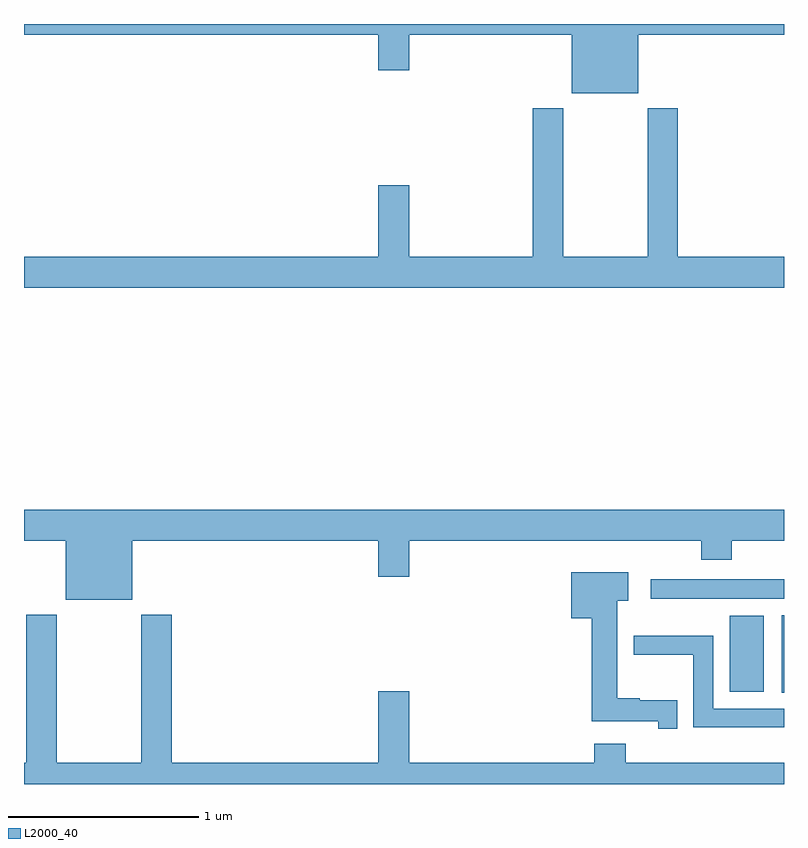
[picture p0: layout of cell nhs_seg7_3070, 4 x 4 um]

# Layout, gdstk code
import gdstk
lib = gdstk.Library(unit=1e-6, precision=1e-09)
def R(c, l, rs):  # rectangles x0, y0, x1, y1
    for r in rs: c.add(gdstk.rectangle(r[:2], r[2:], *l))
def P(c, l, *ps):  # polygons
    for p in ps: c.add(gdstk.Polygon(p, *l))
L2000_40 = (2000, 40)

nhs_seg7_3070 = lib.new_cell('nhs_seg7_3070')
R(nhs_seg7_3070, L2000_40, [(310.988,1002.481,311,1002.889), (310.715,1002.485,310.894,1002.886), (310.299,1002.974,311,1003.078)])
P(nhs_seg7_3070, L2000_40, [(307,1005.944),(308.864,1005.944),(308.864,1005.756),(309.028,1005.756),(309.028,1005.944),(309.884,1005.944),(309.884,1005.635),(310.234,1005.635),(310.234,1005.944),(311,1005.944),(311,1006),(307,1006)],
  [(311,1004.776),(310.442,1004.776),(310.442,1005.556),(310.282,1005.556),(310.282,1004.776),(309.837,1004.776),(309.837,1005.556),(309.677,1005.556),(309.677,1004.776),(309.028,1004.776),(309.028,1005.151),(308.864,1005.151),(308.864,1004.776),(307,1004.776),(307,1004.612),(311,1004.612)],
  [(307.57,1003.28),(308.864,1003.28),(308.864,1003.092),(309.028,1003.092),(309.028,1003.28),(310.565,1003.28),(310.565,1003.181),(310.725,1003.181),(310.725,1003.28),(311,1003.28),(311,1003.444),(307,1003.444),(307,1003.28),(307.22,1003.28),(307.22,1002.971),(307.57,1002.971)],
  [(310.438,1002.441),(310.242,1002.441),(310.242,1002.451),(310.123,1002.451),(310.123,1002.965),(310.18,1002.965),(310.18,1003.114),(309.881,1003.114),(309.881,1002.872),(309.989,1002.872),(309.989,1002.329),(310.338,1002.329),(310.338,1002.291),(310.438,1002.291)],
  [(311,1002.112),(310.166,1002.112),(310.166,1002.211),(310.001,1002.211),(310.001,1002.112),(309.028,1002.112),(309.028,1002.487),(308.864,1002.487),(308.864,1002.112),(307.778,1002.112),(307.778,1002.892),(307.618,1002.892),(307.618,1002.112),(307.173,1002.112),(307.173,1002.892),(307.013,1002.892),(307.013,1002.112),(307,1002.112),(307,1002),(311,1002)],
  [(310.961,1002.3),(311,1002.3),(311,1002.396),(310.627,1002.396),(310.627,1002.779),(310.208,1002.779),(310.208,1002.679),(310.523,1002.679),(310.523,1002.299),(310.961,1002.299)])

lib.write_gds('nhs_seg7_3070.gds')
